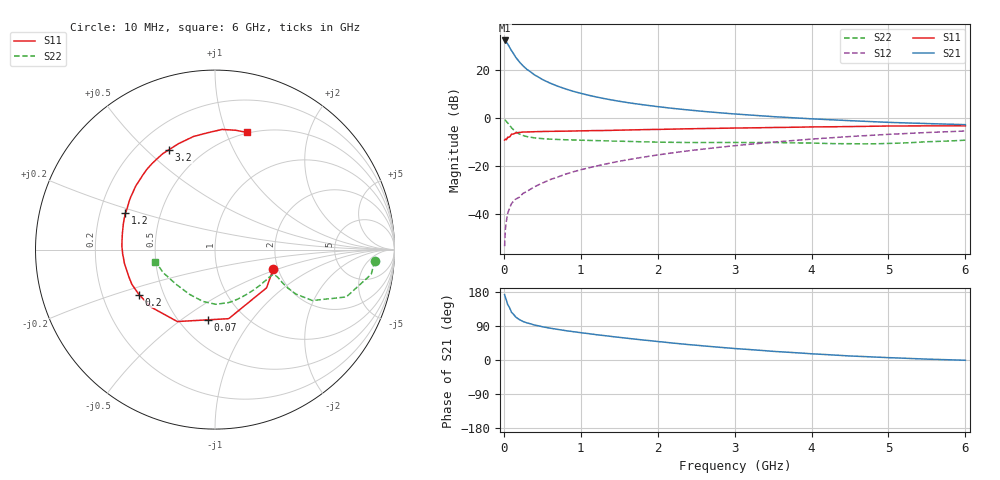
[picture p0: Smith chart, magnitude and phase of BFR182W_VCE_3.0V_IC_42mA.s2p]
! Infineon Technologies  Discrete & RF Semiconductors
! BFR182W
! VCE =  3.0 V,  IC =  42 mA
! Common Emitter S-Parameters:  Jan 2017
# GHz  S  MA  R  50
!  f  S11  S21  S12  S22
! GHz  MAG  ANG  MAG  ANG  MAG  ANG  MAG  ANG
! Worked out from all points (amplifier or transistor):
!   77 points, 10 MHz to 6 GHz, reference 50 ohm
!   highest |S21| = 32.2 dB at 10 MHz (marker M1)
!   |S21| within 3 dB of that: start of sweep to 77.2 MHz
!   unconditionally stable (mu >= 1): start of sweep to 10.79 MHz; 295 MHz to 2.569 GHz
!   at 130 MHz: K = 0.66, MSG = 30.6 dB, |S12| = -34.7 dB
!   at 2.2 GHz: K = 1.04, MAG = 8.0 dB, |S12| = -14.6 dB
!   at 6 GHz: K = 0.95, MSG = 1.3 dB, |S12| = -5.6 dB
!   S11 on the Smith chart (normalised r, x): 10 MHz: 1.88, -0.47; 70 MHz: 0.69, -0.64; 200 MHz: 0.36, -0.24; 1.2 GHz: 0.31, +0.18; 3.2 GHz: 0.33, +0.59; 6 GHz: 0.49, +1.18
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0.01  0.3421 -18.9  40.64 172.4  0.0021 76.2  0.892 -4.1
0.02  0.3576 -36.6  40.03 165.3  0.0047 82.9  0.8811 -9.0
0.05  0.3923 -78.8  34.39 146.2  0.01 67.8  0.7779 -19.8
0.07  0.3931 -95.6  30.17 139.6  0.0124 63.6  0.7104 -22.5
0.1  0.4524 -117.6  24.9 125.7  0.0162 59.7  0.6128 -27.6
0.15  0.4784 -137.7  18.63 114.2  0.0199 59.0  0.5134 -28.8
0.2  0.4921 -149.4  14.64 106.9  0.0219 60.5  0.458 -27.8
0.25  0.5019 -157.3  12.02 101.6  0.0265 61.4  0.4248 -26.5
0.3  0.5036 -162.9  10.15 97.9  0.029 63.6  0.4029 -25.2
0.4  0.5103 -171.2  7.765 92.1  0.0363 67.3  0.379 -23.6
0.5  0.5148 -177.2  6.26 87.8  0.0433 70.1  0.3657 -23.1
0.7  0.5207 174.0  4.528 80.8  0.0578 73.1  0.3513 -23.6
0.9  0.5268 166.9  3.548 74.8  0.0743 73.6  0.3428 -25.7
1.1  0.5347 160.7  2.938 69.6  0.0897 74.3  0.3359 -28.5
1.2  0.5387 158.0  2.704 66.9  0.098 74.0  0.3328 -30.0
1.6  0.5535 148.0  2.071 57.4  0.1317 73.1  0.3208 -37.9
2.1  0.5731 136.4  1.626 46.8  0.1762 70.2  0.3075 -50.6
3.1  0.6102 116.7  1.164 28.9  0.2698 61.9  0.3033 -78.5
3.2  0.6127 114.8  1.135 27.5  0.2793 60.9  0.3027 -81.2
4.1  0.6429 99.3  0.929 15.3  0.3667 51.4  0.2926 -106.4
5.1  0.6708 85.3  0.789 5.5  0.457 39.7  0.2934 -142.3
6  0.6769 74.8  0.715 -0.7  0.5273 29.0  0.3395 -168.7
